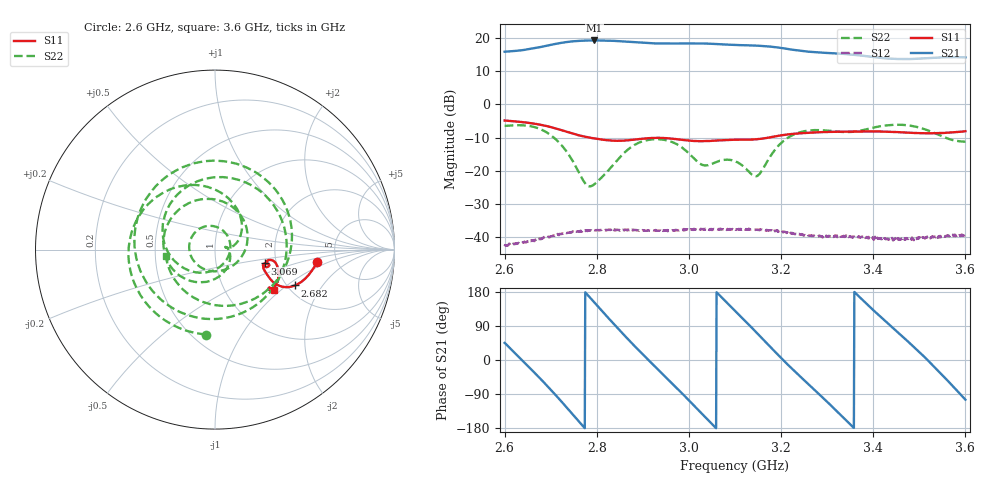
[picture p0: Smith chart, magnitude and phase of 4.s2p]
#  HZ  S  DB  R  50.00
! Rohde & Schwarz Vector Network Analyzer
! Rohde-Schwarz,ZNB8-2Port,1311601042101540,3.40
! Created: UTC 6/28/2024, 7:41:02 AM
! freq[Hz]  db:S11  ang:S11  db:S21  ang:S21  db:S12  ang:S12  db:S22  ang:S22
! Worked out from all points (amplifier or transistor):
!   1001 points, 2.6 GHz to 3.6 GHz, reference 50 ohm
!   highest |S21| = 19.2 dB at 2.795 GHz (marker M1)
!   |S21| within 3 dB of that: 2.633 GHz to 3.236 GHz (602.8 MHz wide, 20.5 % of centre)
!   unconditionally stable (mu >= 1): start of sweep to end of sweep
!   at 2.766 GHz: K = 3.97, MAG = 19.7 dB, |S12| = -38.2 dB
!   at 3.1 GHz: K = 4.37, MAG = 18.3 dB, |S12| = -37.5 dB
!   at 3.6 GHz: K = 6.94, MAG = 15.3 dB, |S12| = -39.3 dB
!   S11 on the Smith chart (normalised r, x): 2.6 GHz: 3.53, -0.71; 2.682 GHz: 2.19, -1.15; 3.069 GHz: 1.74, -0.29; 3.6 GHz: 1.68, -0.89
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2.6e9  -4.83 -6.8  15.84 45.2  -42.62 41.4  -6.45 -96.2
2.643e9  -5.38 -15.7  16.41 -6.9  -41.23 -10.8  -6.30 -174.1
2.682e9  -6.23 -24.1  17.38 -54.9  -40.36 -58.9  -7.71 123.4
2.725e9  -7.81 -29.4  18.56 -111.9  -38.77 -115.8  -12.50 54.5
2.767e9  -9.47 -27.0  19.16 -170.3  -38.29 -173.9  -21.97 7.8
2.795e9  -10.22 -24.1  19.24 151.3  -37.84 148.4  -23.94 12.8
2.824e9  -10.77 -21.0  19.18 112.3  -37.74 110.5  -19.99 -33.1
2.852e9  -10.92 -17.4  19.01 75.3  -37.60 73.8  -15.61 -91.7
2.893e9  -10.40 -14.7  18.60 23.3  -37.85 23.1  -11.43 -163.0
2.934e9  -10.04 -16.5  18.33 -26.3  -38.01 -26.4  -10.46 130.8
2.998e9  -10.85 -18.9  18.36 -104.0  -37.65 -104.1  -14.49 16.9
3.036e9  -11.02 -16.8  18.30 -151.5  -37.52 -152.1  -18.30 -91.1
3.069e9  -10.78 -15.5  18.09 167.7  -37.38 167.2  -16.89 179.6
3.1e9  -10.61 -14.6  17.88 130.0  -37.49 129.3  -17.06 112.8
3.142e9  -10.51 -12.1  17.71 78.3  -37.65 78.7  -21.53 -7.5
3.188e9  -9.60 -10.9  17.21 20.4  -37.94 21.7  -13.40 -154.7
3.267e9  -8.47 -19.9  15.77 -72.6  -39.40 -70.4  -7.77 74.4
3.305e9  -8.27 -22.9  15.45 -116.2  -39.69 -111.8  -7.91 8.9
3.35e9  -8.16 -26.5  15.05 -169.7  -39.66 -161.3  -8.29 -81.5
3.434e9  -8.22 -34.9  13.79 94.0  -40.67 102.3  -6.22 121.9
3.522e9  -8.67 -35.6  13.96 -5.1  -39.98 5.5  -7.98 -16.0
3.6e9  -8.06 -34.3  14.15 -104.7  -39.27 -94.4  -11.20 -172.7
